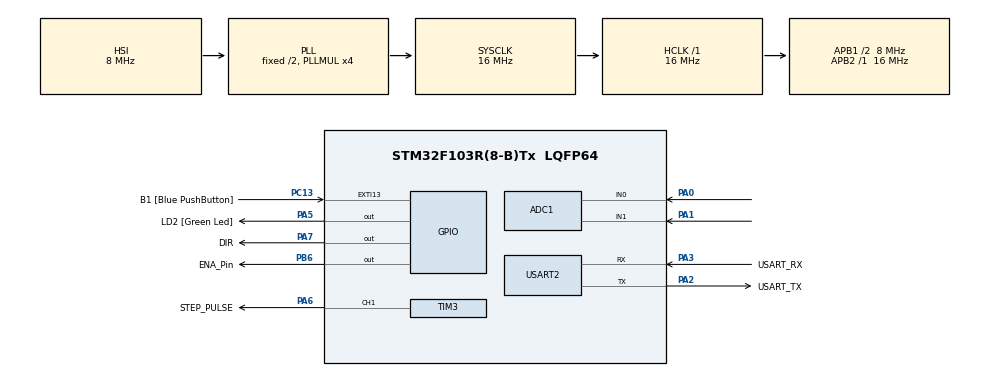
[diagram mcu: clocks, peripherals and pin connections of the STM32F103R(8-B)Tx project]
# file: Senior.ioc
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ADC1.Channel-0\#ChannelRegularConversion=ADC_CHANNEL_0
ADC1.NbrOfConversionFlag=1
ADC1.Rank-0\#ChannelRegularConversion=1
ADC1.SamplingTime-0\#ChannelRegularConversion=ADC_SAMPLETIME_1CYCLE_5
ADC1.master=1
Mcu.Family=STM32F1
Mcu.Name=STM32F103R(8-B)Tx
Mcu.Package=LQFP64
NVIC.EXTI15_10_IRQn=true\:0\:0\:false\:false\:true\:true\:true\:true
NVIC.PriorityGroup=NVIC_PRIORITYGROUP_4
NVIC.USART2_IRQn=true\:0\:0\:false\:false\:true\:true\:true\:true
PA0-WKUP.Signal=ADCx_IN0
PA1.Signal=ADCx_IN1
PA13.GPIO_Label=TMS
PA13.Mode=Serial_Wire
PA13.Signal=SYS_JTMS-SWDIO
PA14.GPIO_Label=TCK
PA14.Mode=Serial_Wire
PA14.Signal=SYS_JTCK-SWCLK
PA2.GPIO_Label=USART_TX
PA2.GPIO_Mode=GPIO_MODE_AF_PP
PA2.GPIO_PuPd=GPIO_NOPULL
PA2.GPIO_Speed=GPIO_SPEED_FREQ_LOW
PA2.Mode=Asynchronous
PA2.Signal=USART2_TX
PA3.GPIO_Label=USART_RX
PA3.GPIO_Mode=GPIO_MODE_AF_PP
PA3.GPIO_PuPd=GPIO_NOPULL
PA3.GPIO_Speed=GPIO_SPEED_FREQ_LOW
PA3.Mode=Asynchronous
PA3.Signal=USART2_RX
PA5.GPIO_Label=LD2 [Green Led]
PA5.GPIO_ModeDefaultOutputPP=GPIO_MODE_OUTPUT_PP
PA5.GPIO_PuPd=GPIO_NOPULL
PA5.GPIO_Speed=GPIO_SPEED_FREQ_LOW
PA5.Signal=GPIO_Output
PA6.GPIO_Label=STEP_PULSE
PA6.Signal=S_TIM3_CH1
PA7.GPIO_Label=DIR
PA7.Signal=GPIO_Output
PB3.GPIO_Label=SWO
PB3.Signal=SYS_JTDO-TRACESWO
PB6.GPIO_Label=ENA_Pin
PB6.Signal=GPIO_Output
PC13-TAMPER-RTC.GPIO_Label=B1 [Blue PushButton]
PC13-TAMPER-RTC.GPIO_PuPd=GPIO_NOPULL
PC13-TAMPER-RTC.Signal=GPXTI13
PC14-OSC32_IN.Mode=LSE-External-Oscillator
PC14-OSC32_IN.Signal=RCC_OSC32_IN
PC15-OSC32_OUT.Mode=LSE-External-Oscillator
PC15-OSC32_OUT.Signal=RCC_OSC32_OUT
PD0-OSC_IN.Mode=HSE-External-Clock-Source
PD0-OSC_IN.Signal=RCC_OSC_IN
PD1-OSC_OUT.Mode=HSE-External-Clock-Source
PD1-OSC_OUT.Signal=RCC_OSC_OUT
ProjectManager.HeapSize=0x200
ProjectManager.StackSize=0x400
ProjectManager.TargetToolchain=CMake
RCC.ADCPresc=RCC_ADCPCLK2_DIV8
RCC.AHBFreq_Value=16000000
RCC.APB1CLKDivider=RCC_HCLK_DIV2
RCC.APB1Freq_Value=8000000
RCC.APB1TimFreq_Value=16000000
RCC.APB2Freq_Value=16000000
RCC.APB2TimFreq_Value=16000000
RCC.HCLKFreq_Value=16000000
RCC.PLLMUL=RCC_PLL_MUL4
RCC.RTCClockSelection=RCC_RTCCLKSOURCE_LSE
RCC.SYSCLKFreq_VALUE=16000000
RCC.SYSCLKSource=RCC_SYSCLKSOURCE_PLLCLK
RCC.USBFreq_Value=16000000
SH.ADCx_IN0.0=ADC1_IN0,IN0
SH.ADCx_IN1.0=ADC1_IN1,IN1
SH.S_TIM3_CH1.0=TIM3_CH1,PWM Generation1 CH1
TIM3.Channel-PWM\ Generation1\ CH1=TIM_CHANNEL_1
TIM3.Prescaler=11
USART2.VirtualMode=VM_ASYNC
VP_TIM3_VS_ClockSourceINT.Mode=Internal
board=NUCLEO-F103RB

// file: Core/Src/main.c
/* USER CODE BEGIN Header */
/**
  ******************************************************************************
  * @file           : main.c
  * @brief          : Main program body
  ******************************************************************************
  * @attention
  *
  * Copyright (c) 2025 STMicroelectronics.
  * All rights reserved.
  *
  * This software is licensed under terms that can be found in the LICENSE file
  * in the root directory of this software component.
  * If no LICENSE file comes with this software, it is provided AS-IS.
  *
  ******************************************************************************
  */
/* USER CODE END Header */
#include "main.h"

/* USER CODE BEGIN Includes */
#include <math.h>
#include <stdint.h>
#include <stdio.h>
#include <string.h>
#include <stdlib.h>
/* USER CODE END Includes */

/* USER CODE BEGIN PD */
#define RX_BUFFER_SIZE 20 //The size of the buffer that receives data from Python
/* USER CODE END PD */

ADC_HandleTypeDef hadc1;

TIM_HandleTypeDef htim3;

UART_HandleTypeDef huart2;

/* USER CODE BEGIN PV */
/* Frequency Variables */
float_t strain_rate; //Strain Rate Will be Pulled as an input through UART
float_t strain;
float_t length_specimen = 0.004; //Length of the Sample
float_t radius_specimen = 0.0015; //Radius of the Sample

//Variables Used to Calculate Speed from Strain Rater and then to create PWM Signals
uint16_t prescaler = 12;
uint16_t steps_per = 1600;
uint16_t min_seconds = 60;
uint32_t clock_frequency = 16e6;
float_t duration;
float_t speed;
uint16_t ARR;
uint16_t frequency;
float_t velocity;

//Variables for UART Communication
uint16_t lux = 0;
float_t angle;
char msg[100];
uint8_t rx_buffer[RX_BUFFER_SIZE];
uint8_t tx_buffer[50];
uint8_t rx_index = 0;

//Variable Changes when terminate test is clicked
volatile uint8_t stop_motor= 0;
/* USER CODE END PV */

void SystemClock_Config(void);
static void MX_GPIO_Init(void);
static void MX_ADC1_Init(void);
static void MX_TIM3_Init(void);
static void MX_USART2_UART_Init(void);
/* USER CODE BEGIN PFP */
void Motor_Enable(uint8_t ena);
void Motor_SetPWM(void);
void Motor_SetDirection(uint8_t dir);
void Motor_RampUp(uint16_t maxFrequency, uint16_t duration);
uint16_t read_ADC(void);
float calculate_velocity(float dt);
/* USER CODE END PFP */

int main(void)
{

  /* MCU Configuration--------------------------------------------------------*/

  /* Reset of all peripherals, Initializes the Flash interface and the Systick. */
  HAL_Init();

  /* Configure the system clock */
  SystemClock_Config();

  /* Initialize all configured peripherals */
  MX_GPIO_Init();
  MX_ADC1_Init();
  MX_TIM3_Init();
  MX_USART2_UART_Init();
  /* USER CODE BEGIN 2 */
  HAL_UART_Receive_IT(&huart2, &rx_buffer[rx_index], 1);
  HAL_UART_Transmit(&huart2, rx_buffer, strlen((char*)rx_buffer),HAL_MAX_DELAY);
  //
  /* USER CODE END 2 */

  /* Infinite loop */
  while (1)
  {
    // if (stop_motor)
    // {
    //   HAL_TIM_PWM_Stop(&htim3, TIM_CHANNEL_1);
    //   Motor_Enable(0);
    //   stop_motor = 0;
    // }
    if (strain_rate > 0)
        {
          Motor_Enable(1);
          Motor_SetDirection(1); // CW Direction
          if (strain_rate <= 13)
          {
            Motor_SetPWM();
          }
          else
          {
          Motor_RampUp(frequency, duration);
          }
        }
        else
        {
        Motor_Enable(0);
        HAL_TIM_PWM_Stop(&htim3, TIM_CHANNEL_1);
        }

    HAL_GPIO_TogglePin(LD2_GPIO_Port, LD2_Pin);
    HAL_Delay(500);
    float sampling_frequency = (2e6)/(12.5+239.5);
    float dt= 1/(sampling_frequency);
    velocity = calculate_velocity(dt);

    /* USER CODE BEGIN 3 */
    // HAL_ADC_Start(&hadc1);
    // HAL_ADC_PollForConversion(&hadc1,20);
    // lux = HAL_ADC_GetValue(&hadc1);
    // angle= ((float)lux/3072.0)*270;
    // sprintf(msg, "Velocity: %.2f m/s\r\n", velocity);
    // HAL_UART_Transmit(&huart2,(uint8_t *)msg,strlen(msg),HAL_MAX_DELAY);
    // HAL_Delay(500);
    HAL_GPIO_TogglePin(LD2_GPIO_Port, LD2_Pin);
    HAL_Delay(500);
  }
  /* USER CODE END 3 */
}

void SystemClock_Config(void)
{
  RCC_OscInitTypeDef RCC_OscInitStruct = {0};
  RCC_ClkInitTypeDef RCC_ClkInitStruct = {0};
  RCC_PeriphCLKInitTypeDef PeriphClkInit = {0};

  /** Initializes the RCC Oscillators according to the specified parameters
  * in the RCC_OscInitTypeDef structure.
  */
  RCC_OscInitStruct.OscillatorType = RCC_OSCILLATORTYPE_HSI;
  RCC_OscInitStruct.HSIState = RCC_HSI_ON;
  RCC_OscInitStruct.HSICalibrationValue = RCC_HSICALIBRATION_DEFAULT;
  RCC_OscInitStruct.PLL.PLLState = RCC_PLL_ON;
  RCC_OscInitStruct.PLL.PLLSource = RCC_PLLSOURCE_HSI_DIV2;
  RCC_OscInitStruct.PLL.PLLMUL = RCC_PLL_MUL4;
  if (HAL_RCC_OscConfig(&RCC_OscInitStruct) != HAL_OK)
  {
    Error_Handler();
  }

  /** Initializes the CPU, AHB and APB buses clocks
  */
  RCC_ClkInitStruct.ClockType = RCC_CLOCKTYPE_HCLK|RCC_CLOCKTYPE_SYSCLK
                              |RCC_CLOCKTYPE_PCLK1|RCC_CLOCKTYPE_PCLK2;
  RCC_ClkInitStruct.SYSCLKSource = RCC_SYSCLKSOURCE_PLLCLK;
  RCC_ClkInitStruct.AHBCLKDivider = RCC_SYSCLK_DIV1;
  RCC_ClkInitStruct.APB1CLKDivider = RCC_HCLK_DIV2;
  RCC_ClkInitStruct.APB2CLKDivider = RCC_HCLK_DIV1;

  if (HAL_RCC_ClockConfig(&RCC_ClkInitStruct, FLASH_LATENCY_0) != HAL_OK)
  {
    Error_Handler();
  }
  PeriphClkInit.PeriphClockSelection = RCC_PERIPHCLK_ADC;
  PeriphClkInit.AdcClockSelection = RCC_ADCPCLK2_DIV8;
  if (HAL_RCCEx_PeriphCLKConfig(&PeriphClkInit) != HAL_OK)
  {
    Error_Handler();
  }
}

static void MX_ADC1_Init(void)
{

  ADC_ChannelConfTypeDef sConfig = {0};

  /** Common config
  */
  hadc1.Instance = ADC1;
  hadc1.Init.ScanConvMode = ADC_SCAN_DISABLE;
  hadc1.Init.ContinuousConvMode = DISABLE;
  hadc1.Init.DiscontinuousConvMode = DISABLE;
  hadc1.Init.ExternalTrigConv = ADC_SOFTWARE_START;
  hadc1.Init.DataAlign = ADC_DATAALIGN_RIGHT;
  hadc1.Init.NbrOfConversion = 1;
  if (HAL_ADC_Init(&hadc1) != HAL_OK)
  {
    Error_Handler();
  }

  /** Configure Regular Channel
  */
  sConfig.Channel = ADC_CHANNEL_0;
  sConfig.Rank = ADC_REGULAR_RANK_1;
  sConfig.SamplingTime = ADC_SAMPLETIME_239CYCLES_5;
  if (HAL_ADC_ConfigChannel(&hadc1, &sConfig) != HAL_OK)
  {
    Error_Handler();
  }

}

static void MX_TIM3_Init(void)
{

  TIM_ClockConfigTypeDef sClockSourceConfig = {0};
  TIM_MasterConfigTypeDef sMasterConfig = {0};
  TIM_OC_InitTypeDef sConfigOC = {0};

  htim3.Instance = TIM3;
  htim3.Init.Prescaler = prescaler-1;
  htim3.Init.CounterMode = TIM_COUNTERMODE_UP;
  htim3.Init.Period = ARR-1;
  htim3.Init.ClockDivision = TIM_CLOCKDIVISION_DIV1;
  htim3.Init.AutoReloadPreload = TIM_AUTORELOAD_PRELOAD_DISABLE;
  if (HAL_TIM_Base_Init(&htim3) != HAL_OK)
  {
    Error_Handler();
  }
  sClockSourceConfig.ClockSource = TIM_CLOCKSOURCE_INTERNAL;
  if (HAL_TIM_ConfigClockSource(&htim3, &sClockSourceConfig) != HAL_OK)
  {
    Error_Handler();
  }
  if (HAL_TIM_PWM_Init(&htim3) != HAL_OK)
  {
    Error_Handler();
  }
  sMasterConfig.MasterOutputTrigger = TIM_TRGO_RESET;
  sMasterConfig.MasterSlaveMode = TIM_MASTERSLAVEMODE_DISABLE;
  if (HAL_TIMEx_MasterConfigSynchronization(&htim3, &sMasterConfig) != HAL_OK)
  {
    Error_Handler();
  }
  sConfigOC.OCMode = TIM_OCMODE_PWM1;
  sConfigOC.Pulse = ARR/2;
  sConfigOC.OCPolarity = TIM_OCPOLARITY_HIGH;
  sConfigOC.OCFastMode = TIM_OCFAST_DISABLE;
  if (HAL_TIM_PWM_ConfigChannel(&htim3, &sConfigOC, TIM_CHANNEL_1) != HAL_OK)
  {
    Error_Handler();
  }
  HAL_TIM_MspPostInit(&htim3);
}

static void MX_USART2_UART_Init(void)
{

  huart2.Instance = USART2;
  huart2.Init.BaudRate = 115200;
  huart2.Init.WordLength = UART_WORDLENGTH_8B;
  huart2.Init.StopBits = UART_STOPBITS_1;
  huart2.Init.Parity = UART_PARITY_NONE;
  huart2.Init.Mode = UART_MODE_TX_RX;
  huart2.Init.HwFlowCtl = UART_HWCONTROL_NONE;
  huart2.Init.OverSampling = UART_OVERSAMPLING_16;
  if (HAL_UART_Init(&huart2) != HAL_OK)
  {
    Error_Handler();
  }

}

static void MX_GPIO_Init(void)
{
  GPIO_InitTypeDef GPIO_InitStruct = {0};

  /* GPIO Ports Clock Enable */
  __HAL_RCC_GPIOC_CLK_ENABLE();
  __HAL_RCC_GPIOD_CLK_ENABLE();
  __HAL_RCC_GPIOA_CLK_ENABLE();
  __HAL_RCC_GPIOB_CLK_ENABLE();

  /*Configure GPIO pin Output Level */
  HAL_GPIO_WritePin(GPIOA, LD2_Pin|DIR_Pin, GPIO_PIN_RESET);

  /*Configure GPIO pin Output Level */
  HAL_GPIO_WritePin(ENA_Pin_GPIO_Port, ENA_Pin_Pin, GPIO_PIN_RESET);

  /*Configure GPIO pin : B1_Pin */
  GPIO_InitStruct.Pin = B1_Pin;
  GPIO_InitStruct.Mode = GPIO_MODE_IT_RISING;
  GPIO_InitStruct.Pull = GPIO_NOPULL;
  HAL_GPIO_Init(B1_GPIO_Port, &GPIO_InitStruct);

  /*Configure GPIO pins : LD2_Pin DIR_Pin */
  GPIO_InitStruct.Pin = LD2_Pin|DIR_Pin;
  GPIO_InitStruct.Mode = GPIO_MODE_OUTPUT_PP;
  GPIO_InitStruct.Pull = GPIO_NOPULL;
  GPIO_InitStruct.Speed = GPIO_SPEED_FREQ_LOW;
  HAL_GPIO_Init(GPIOA, &GPIO_InitStruct);

  /*Configure GPIO pin : ENA_Pin_Pin */
  GPIO_InitStruct.Pin = ENA_Pin_Pin;
  GPIO_InitStruct.Mode = GPIO_MODE_OUTPUT_PP;
  GPIO_InitStruct.Pull = GPIO_NOPULL;
  GPIO_InitStruct.Speed = GPIO_SPEED_FREQ_LOW;
  HAL_GPIO_Init(ENA_Pin_GPIO_Port, &GPIO_InitStruct);

  /* EXTI interrupt init*/
  HAL_NVIC_SetPriority(EXTI15_10_IRQn, 0, 0);
  HAL_NVIC_EnableIRQ(EXTI15_10_IRQn);

}

/* USER CODE BEGIN 4 */
/**
  * @brief Gradual ramp-up of motor speed to prevent stalling.
  * @param maxFrequency: Target frequency to achieve.
  * @param duration: Duration in seconds to maintain maximum speed.
  * @retval None
  */
void Motor_RampUp(uint16_t maxFrequency, uint16_t duration)
{
  uint16_t currentFrequency = 11000; // Starting frequency
  uint16_t step = 100;              // Increment frequency by this value
  uint16_t rampDelay = 1;        // Milliseconds delay between frequency increments

  while (currentFrequency < maxFrequency)
  {
    ARR = clock_frequency / (prescaler * currentFrequency);
    __HAL_TIM_SET_AUTORELOAD(&htim3, ARR - 1);
    __HAL_TIM_SET_COMPARE(&htim3, TIM_CHANNEL_1, ARR / 2);
    HAL_TIM_PWM_Start(&htim3, TIM_CHANNEL_1);
    currentFrequency += step;
    HAL_Delay(rampDelay);
  }
  __HAL_TIM_SET_AUTORELOAD(&htim3, ARR - 1);
  __HAL_TIM_SET_COMPARE(&htim3, TIM_CHANNEL_1, ARR / 2);
  HAL_TIM_PWM_Start(&htim3, TIM_CHANNEL_1);
  strain_rate=0;
  HAL_Delay(duration * 1000);
  HAL_TIM_PWM_Stop(&htim3, TIM_CHANNEL_1);
  Motor_Enable(0);
}

/**
  * @brief Motor Enable Function
  * @param ena
  * @retval None
  */
void Motor_Enable(uint8_t ena)
{
  if (ena)
  {
    HAL_GPIO_WritePin(ENA_Pin_GPIO_Port, ENA_Pin_Pin, GPIO_PIN_SET);
  }
  else
  {
    HAL_GPIO_WritePin(ENA_Pin_GPIO_Port, ENA_Pin_Pin, GPIO_PIN_RESET);
  }
}

/**
  * @brief Motor Direction Function
  * @param dir
  * @retval None
  */
void Motor_SetDirection(uint8_t dir)
{
  if (dir)
  {
    HAL_GPIO_WritePin(DIR_GPIO_Port, DIR_Pin, GPIO_PIN_SET);
  }
  else
  {
    HAL_GPIO_WritePin(DIR_GPIO_Port, DIR_Pin, GPIO_PIN_RESET);
  }
}

/**
  * @brief Motor Step Function
  * @param None
  * @retval None
  */
void Motor_SetPWM(void)
{
  __HAL_TIM_SET_AUTORELOAD(&htim3, ARR - 1);
  __HAL_TIM_SET_COMPARE(&htim3, TIM_CHANNEL_1, ARR / 2);
    HAL_TIM_PWM_Start(&htim3, TIM_CHANNEL_1);
    HAL_Delay(duration*1000);
    strain_rate=0;
    HAL_TIM_PWM_Stop(&htim3, TIM_CHANNEL_1);
    Motor_Enable(0);
}

uint16_t read_ADC(void){
  HAL_ADC_Start(&hadc1);
  HAL_ADC_PollForConversion(&hadc1, HAL_MAX_DELAY);
  return HAL_ADC_GetValue(&hadc1);
}

float_t calculate_velocity(float dt){
  static uint16_t prev_adc_value = 0;
  uint16_t current_adc_value = read_ADC();

  float theta_current = (current_adc_value/(float)4096)*360.0;
  float theta_previous = (prev_adc_value/(float)4096)*360.0;

  float delta_theta = theta_current - theta_previous;
  if (delta_theta > 180) delta_theta -=360;
  if (delta_theta < -180) delta_theta +=360;

  float omega = delta_theta/dt;
  return omega;

  prev_adc_value = current_adc_value;
}

void HAL_UART_RxCpltCallback(UART_HandleTypeDef *huart)
{
    if (huart->Instance == USART2)
    {
        uint8_t received_char = rx_buffer[rx_index];

        if (received_char == 'S')
        {
          strain_rate=0;
          Motor_Enable(0);
        }

        else if (received_char == '\n' || rx_index >= RX_BUFFER_SIZE)
        {
          rx_buffer[rx_index] = '\0';
          HAL_UART_Transmit(&huart2, rx_buffer, rx_index, HAL_MAX_DELAY);

          char *token = strtok((char*)rx_buffer," ");
          if (token != NULL)
          {
            strain_rate= strtof(token, NULL);
            token= strtok(NULL, " ");
            if (token != NULL)
            {
              strain = strtof(token, NULL);
            }
          }
          speed = (sqrt(3) * strain_rate * length_specimen * min_seconds) / (2 * M_PI * radius_specimen);
          frequency = (speed * steps_per) / min_seconds;
          duration = strain/strain_rate;
          ARR = clock_frequency / (prescaler * frequency);
          rx_index = 0;
        }
        else
        {
          rx_index++;
        }
    }
    HAL_UART_Receive_IT(&huart2, &rx_buffer[rx_index], 1);
}
/* USER CODE END 4 */

void Error_Handler(void)
{
  __disable_irq();
  while (1)
  {
  }
}
